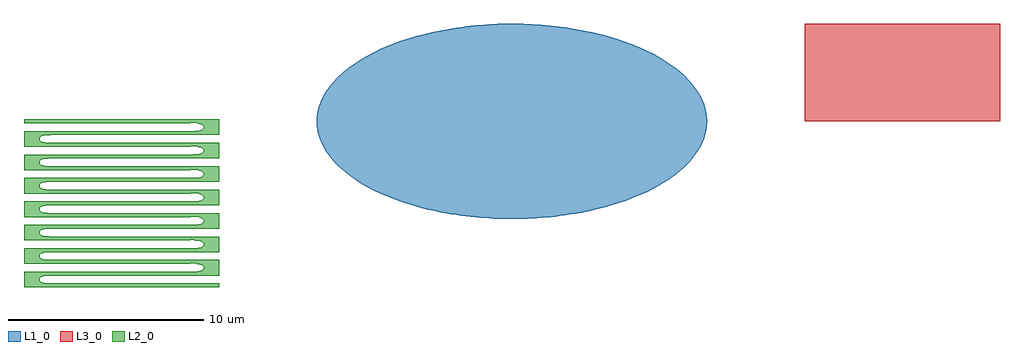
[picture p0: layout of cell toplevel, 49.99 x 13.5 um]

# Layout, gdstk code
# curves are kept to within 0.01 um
from math import pi, radians
import gdstk
lib = gdstk.Library(unit=1e-6, precision=1e-09)
def R(c, l, rs):  # rectangles x0, y0, x1, y1
    for r in rs: c.add(gdstk.rectangle(r[:2], r[2:], *l))
def P(c, l, *ps):  # polygons
    for p in ps: c.add(gdstk.Polygon(p, *l))
L1_0 = (1, 0)
L2_0 = (2, 0)
L3_0 = (3, 0)

ellipse000422 = lib.new_cell('ellipse000422')
P(ellipse000422, L1_0, [(10,0),(9.962,0.438),(9.848,0.868),(9.666,1.282),(9.423,1.673),(9.131,2.039),(8.8,2.375),(8.441,2.681),(8.064,2.957),(7.676,3.204),(7.286,3.425),(6.515,3.793),(5.776,4.081),(5.082,4.306),(4.125,4.555),(3.262,4.726),(2.226,4.875),(1.28,4.959),(0.165,4.999),(-0.717,4.987),(-1.627,4.933),(-2.602,4.828),(-3.4,4.702),(-4.278,4.519),(-5.251,4.255),(-5.957,4.016),(-6.705,3.709),(-7.481,3.318),(-7.871,3.084),(-8.254,2.823),(-8.623,2.532),(-8.969,2.211),(-9.283,1.86),(-9.552,1.481),(-9.765,1.077),(-9.914,0.654),(-9.99,0.22),(-9.99,-0.22),(-9.914,-0.654),(-9.765,-1.077),(-9.552,-1.481),(-9.283,-1.86),(-8.969,-2.211),(-8.623,-2.532),(-8.254,-2.823),(-7.871,-3.084),(-7.481,-3.318),(-6.705,-3.709),(-5.957,-4.016),(-5.251,-4.255),(-4.278,-4.519),(-3.4,-4.702),(-2.35,-4.86),(-1.395,-4.951),(-0.275,-4.998),(0.606,-4.991),(1.51,-4.943),(2.475,-4.844),(3.541,-4.676),(4.433,-4.482),(5.423,-4.201),(6.141,-3.946),(6.898,-3.62),(7.286,-3.425),(7.676,-3.204),(8.064,-2.957),(8.441,-2.681),(8.8,-2.375),(9.131,-2.039),(9.423,-1.673),(9.666,-1.282),(9.848,-0.868),(9.962,-0.438)])

rectangle000407 = lib.new_cell('rectangle000407')
R(rectangle000407, L2_0, [(0,0,5,0.2)])

compass000406 = lib.new_cell('compass000406')
compass000406.add(gdstk.Reference(rectangle000407, (-2.5,-0.1)))

hairpin000405 = lib.new_cell('hairpin000405')
P(hairpin000405, L2_0, [(-0.59,-0.2),(-0.24,-0.191),(-0.068,-0.163),(0.053,-0.095),(0.092,0),(0.892,0),(0.892,-0.4),(-4.108,-0.4),(-4.108,-0.2)],
  [(-0.59,0.2),(-0.24,0.191),(-0.068,0.163),(0.053,0.095),(0.092,0),(0.892,0),(0.892,0.4),(-4.108,0.4),(-4.108,0.2)])

rectangle000409 = lib.new_cell('rectangle000409')
R(rectangle000409, L2_0, [(0,0,5,0.2)])

compass000408 = lib.new_cell('compass000408')
compass000408.add(gdstk.Reference(rectangle000409, (-2.5,-0.1)))

snspd000423 = lib.new_cell('snspd000423')
snspd000423.add(gdstk.Reference(compass000406, (0,0)))
snspd000423.add(gdstk.Reference(hairpin000405, (6.608,-0.3)))
snspd000423.add(gdstk.Reference(hairpin000405, (-1.608,-0.9), rotation=pi))
snspd000423.add(gdstk.Reference(hairpin000405, (6.608,-1.5)))
snspd000423.add(gdstk.Reference(hairpin000405, (-1.608,-2.1), rotation=pi))
snspd000423.add(gdstk.Reference(hairpin000405, (6.608,-2.7)))
snspd000423.add(gdstk.Reference(hairpin000405, (-1.608,-3.3), rotation=pi))
snspd000423.add(gdstk.Reference(hairpin000405, (6.608,-3.9)))
snspd000423.add(gdstk.Reference(hairpin000405, (-1.608,-4.5), rotation=pi))
snspd000423.add(gdstk.Reference(hairpin000405, (6.608,-5.1)))
snspd000423.add(gdstk.Reference(hairpin000405, (-1.608,-5.7), rotation=pi))
snspd000423.add(gdstk.Reference(hairpin000405, (6.608,-6.3)))
snspd000423.add(gdstk.Reference(hairpin000405, (-1.608,-6.9), rotation=pi))
snspd000423.add(gdstk.Reference(hairpin000405, (6.608,-7.5)))
snspd000423.add(gdstk.Reference(hairpin000405, (-1.608,-8.1), rotation=pi))
snspd000423.add(gdstk.Reference(compass000408, (5,-8.4), rotation=pi))

rectangle000424 = lib.new_cell('rectangle000424')
R(rectangle000424, L3_0, [(0,0,10,5)])

toplevel = lib.new_cell('toplevel')
toplevel.add(gdstk.Reference(ellipse000422, (22.49,0)))
toplevel.add(gdstk.Reference(snspd000423, (0,0)))
toplevel.add(gdstk.Reference(rectangle000424, (37.49,0)))

lib.write_gds('toplevel.gds')
